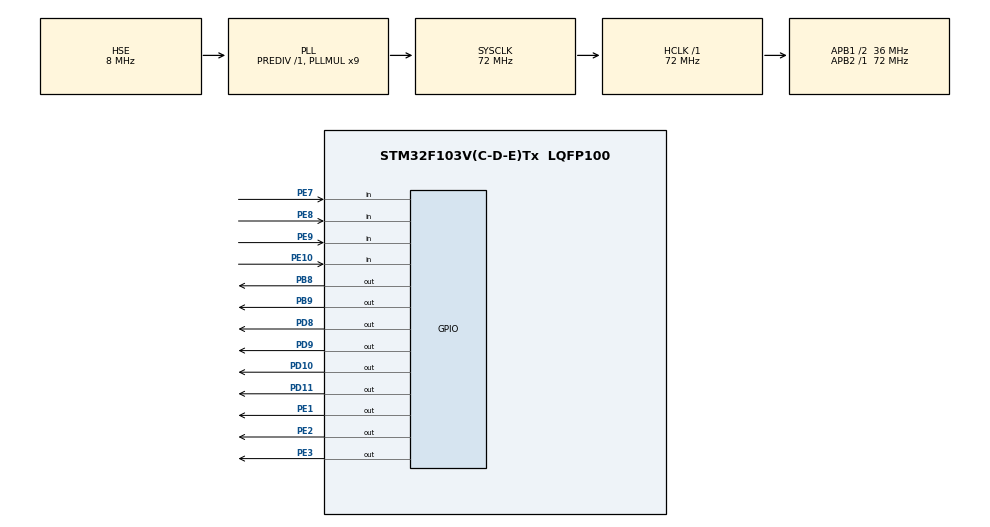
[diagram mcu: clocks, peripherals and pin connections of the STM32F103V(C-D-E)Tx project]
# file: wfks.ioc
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Mcu.Family=STM32F1
Mcu.Name=STM32F103V(C-D-E)Tx
Mcu.Package=LQFP100
NVIC.PriorityGroup=NVIC_PRIORITYGROUP_4
NVIC.TIM6_IRQn=true\:2\:0\:true\:false\:true\:true\:true\:true
OSC_IN.Mode=HSE-External-Oscillator
OSC_IN.Signal=RCC_OSC_IN
OSC_OUT.Mode=HSE-External-Oscillator
OSC_OUT.Signal=RCC_OSC_OUT
PA13.Mode=Serial_Wire
PA13.Signal=SYS_JTMS-SWDIO
PA14.Mode=Serial_Wire
PA14.Signal=SYS_JTCK-SWCLK
PB8.Signal=GPIO_Output
PB9.Signal=GPIO_Output
PC14-OSC32_IN.Mode=LSE-External-Oscillator
PC14-OSC32_IN.Signal=RCC_OSC32_IN
PC15-OSC32_OUT.Mode=LSE-External-Oscillator
PC15-OSC32_OUT.Signal=RCC_OSC32_OUT
PD10.Signal=GPIO_Output
PD11.Signal=GPIO_Output
PD8.Signal=GPIO_Output
PD9.Signal=GPIO_Output
PE1.Signal=GPIO_Output
PE10.Signal=GPIO_Input
PE2.Signal=GPIO_Output
PE3.Signal=GPIO_Output
PE7.Signal=GPIO_Input
PE8.Signal=GPIO_Input
PE9.Signal=GPIO_Input
ProjectManager.HeapSize=0x200
ProjectManager.StackSize=0x400
ProjectManager.TargetToolchain=MDK-ARM V5
RCC.AHBFreq_Value=72000000
RCC.APB1CLKDivider=RCC_HCLK_DIV2
RCC.APB1Freq_Value=36000000
RCC.APB1TimFreq_Value=72000000
RCC.APB2Freq_Value=72000000
RCC.APB2TimFreq_Value=72000000
RCC.HCLKFreq_Value=72000000
RCC.PLLMUL=RCC_PLL_MUL9
RCC.PLLSourceVirtual=RCC_PLLSOURCE_HSE
RCC.SYSCLKFreq_VALUE=72000000
RCC.SYSCLKSource=RCC_SYSCLKSOURCE_PLLCLK
RCC.TimSys_Div=SYSTICK_CLKSOURCE_HCLK_DIV8
RCC.USBFreq_Value=72000000
TIM6.Period=10000-1
TIM6.Prescaler=72000000/10000-1
VP_TIM6_VS_ClockSourceINT.Mode=Enable_Timer
board=custom

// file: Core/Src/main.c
/* USER CODE BEGIN Header */
/**
  ******************************************************************************
  * @file           : main.c
  * @brief          : Main program body
  ******************************************************************************
  * @attention
  *
  * Copyright (c) 2025 STMicroelectronics.
  * All rights reserved.
  *
  * This software is licensed under terms that can be found in the LICENSE file
  * in the root directory of this software component.
  * If no LICENSE file comes with this software, it is provided AS-IS.
  *
  ******************************************************************************
  */
/* USER CODE END Header */
#include "main.h"
#include "tim.h"
#include "gpio.h"
#include "oled_drv.h"
#include "stdio.h"
#include <stdlib.h>

/* USER CODE BEGIN Includes */

unsigned char BMP1[] =
{
//地鼠

	0x00,0x00,0xFE,0x7F,0x0F,0x77,0x17,0x76,0x02,0x83,0xC3,0xC3,0x82,0x02,0x76,0x17,
	0x77,0x0F,0x7F,0xFE,0x00,0x00,0xF8,0x7F,0x07,0x00,0x00,0x70,0xF0,0xD8,0x18,0x18,
	0x09,0x09,0x08,0x18,0xD8,0xF0,0x70,0x00,0x00,0x07,0x7F,0xF8,0x3F,0x3C,0x00,0x1F,
	0x3F,0x06,0x06,0x07,0x01,0x00,0x00,0x00,0x00,0x01,0x07,0x06,0x06,0x3F,0x1F,0x00,
	0x3C,0x3F,/*"C:\Users\Administrator\Desktop\1.BMP",0*/

};

unsigned char	BMP2[] =
{
//地洞
	0x18,0x17,0x10,0x10,0x10,0x10,0x10,0x10,0x10,0x10,0x10,0x10,0x10,0x10,0x10,0x10,
	0x10,0x10,0x10,0x10,0x10,0x10,0x10,0x10,0x10,0x10,0x10,0x10,0x17,0x18,/*"C:\Users\Administrator\Desktop\2.BMP",0*/
};

unsigned char BMP3[] =
{
//锤子
	0x60,0xF8,0xFC,0xFC,0xFC,0x7C,0x3E,0x1F,0x0F,0x07,0x07,0x0F,0xDE,0xFE,0xFC,0x30,
	0x00,0x00,0x00,0x00,0x00,0x00,0x00,0x00,0x00,0x3E,0x7F,0xFF,0xE3,0xC1,0x80,0xC0,
	0xE0,0xF0,0xF8,0x7E,0xFF,0xFF,0xFF,0xFD,0xF8,0xF0,0xF0,0xE0,0xC0,0x80,0x00,0x00,
	0x00,0x00,0x00,0x00,0x00,0x00,0x01,0x01,0x01,0x01,0x01,0x00,0x00,0x00,0x01,0x01,
	0x03,0x07,0x0F,0x1F,0x1F,0x3F,0x3F,0x3F,0x3F,0x3E,0x3C,/*"C:\Users\Administrator\Desktop\3.bmp",0*/

};
/* USER CODE END Includes */

void SystemClock_Config(void);
#define TIME  1500
char win_temp=0;
char mode=1;
char huan_pic=0;
	uint8_t rnd = 0;
	char temp=0;
		unsigned char chui = 0;
		char jiao = 0;
		uint16_t shijain = 0;
		int num =0;
		 unsigned char  accont=0;
// 全局变量
volatile uint32_t countdown_target = 0;

/* USER CODE BEGIN 0 */
void win()
{
	OLED_Clear();		//清屏
					//恭喜你打到地鼠了！
	OLED_ShowCHinese(40,2, 22);
	OLED_ShowCHinese(56,2, 23);
	OLED_ShowCHinese(72,2, 24);
	OLED_ShowCHinese(16,4, 25);
	OLED_ShowCHinese(32,4, 26);
	OLED_ShowCHinese(48,4, 27);
	OLED_ShowCHinese(64,4, 28);
	OLED_ShowCHinese(80,4, 29);
	OLED_ShowCHinese(98,4, 30);
	HAL_Delay(500);
}

void gg()
{
	OLED_Clear();
	//很遗憾游戏失败
	OLED_ShowCHinese(40,2, 17);
	OLED_ShowCHinese(56,2, 18);
	OLED_ShowCHinese(72,2, 19);
	OLED_ShowCHinese(32,4, 13);
	OLED_ShowCHinese(48,4, 14);
	OLED_ShowCHinese(64,4, 20);
	OLED_ShowCHinese(80,4, 21);
	HAL_Delay(500);
}
/* USER CODE END 0 */

int main(void)
{

  /* USER CODE BEGIN 1 */

//  uint8_t zzb=0;

//	Delay_ms(1000);

  /* USER CODE END 1 */

  /* MCU Configuration--------------------------------------------------------*/

  /* Reset of all peripherals, Initializes the Flash interface and the Systick. */
  HAL_Init();

  /* Configure the system clock */
  SystemClock_Config();

  /* Initialize all configured peripherals */
  MX_GPIO_Init();
  MX_TIM6_Init();
//	HAL_Delay(200);

  /* USER CODE BEGIN 2 */

	OLED_Hinit();       //OLED端口设置
	OLED_SInit();		//OLED内部初始化

	GG:

	OLED_Clear();		//清屏

		//36为空
	OLED_ShowCHinese(32,0, 11);
	OLED_ShowCHinese(48,0, 12);
	OLED_ShowCHinese(64,0, 13);
	OLED_ShowCHinese(80,0, 14);
		//普通模式
	OLED_ShowCHinese(32,3, 41);
	OLED_ShowCHinese(48,3, 42);
	OLED_ShowCHinese(64,3, 43);
	OLED_ShowCHinese(80,3, 44);
	//无尽模式
	OLED_ShowCHinese(32,6, 37);
	OLED_ShowCHinese(48,6, 38);
	OLED_ShowCHinese(64,6, 39);
	OLED_ShowCHinese(80,6, 40);
	while(1)
	{
		OLED_ShowCHinese(16,accont+3, 45);

		if(jiao==1)
		{
			if(accont==0)
			{
				OLED_ShowCHinese(16,3, 36);
			}
			else if(accont==3)
			{
				OLED_ShowCHinese(16,6, 36);
			}
			mode=1;
			accont-=3;
			if(accont>3)
			{
				accont=3;
			}
			if(accont==-3)
			{
				accont=3;
			}
			if(accont<0)
			{
				accont=3;
			}
			jiao=0;
		}
		else if(jiao==2)
		{
						if(accont==0)
			{
				OLED_ShowCHinese(16,3, 36);
			}
			else if(accont==3)
			{
				OLED_ShowCHinese(16,6, 36);
			}
			accont+=3;
			mode=2;

			if(accont>3)
			{
				accont=0;
			}
			//accont%=3;
			jiao=0;
		}
		else if(jiao==4)
		{

			jiao=0;
				break;
		}

	}
	HAL_Delay(100);
	jiao=0;
	OLED_Clear();
	jiao=0;
	//准备好了吗按下任意键开始游戏
	OLED_ShowCHinese(0,0, 0);
	OLED_ShowCHinese(16,0, 1);
	OLED_ShowCHinese(32,0, 2);
	OLED_ShowCHinese(48,0, 3);
	OLED_ShowCHinese(64,0, 4);
	OLED_ShowCHinese(80,0, 5);
	OLED_ShowCHinese(96,0, 6);
	OLED_ShowCHinese(16,3, 7);
	OLED_ShowCHinese(32,3 ,8);
	OLED_ShowCHinese(48,3, 9);
	OLED_ShowCHinese(64,3, 10);
	OLED_ShowCHinese(80,3, 11);
	OLED_ShowCHinese(32,6, 12);
	OLED_ShowCHinese(48,6, 13);
	HAL_Delay(100);
	jiao=0;
	OLED_ShowCHinese(64,6, 14);
	jiao=0;
	while(jiao==0);
	jiao=0;
	temp=0;
	huan_pic=0;
	rnd=0;
  HAL_Delay(1000);
  /* USER CODE END 2 */

  /* Infinite loop */
  /* USER CODE BEGIN WHILE */
	HAL_Delay(100);
	jiao=0;
	HAL_TIM_Base_Start_IT(&htim6);
  while (1)
  {
		if(mode==1)
		{

			rnd = get_random_0_to_4();
			dishu();
			if(temp==1)
			{
				goto xixi;
				temp=0;
			}
			while(temp==0)
			{
				OLED_ShowNum(64,0,num/1000,2,20);
				if(huan_pic==1)
				{
					rnd = get_random_0_to_4();
					dishu();
					huan_pic=0;
				}
				if(jiao==rnd)
				{
					num=0;
					temp=0;
					win();
					huan_pic=1;
					win_temp=1;
					jiao=0;
				}
				else if(jiao !=rnd &&jiao !=0)
				{
					xixi:
					temp=0;
					gg();
					win_temp=2;
					jiao=0;
					num=0;
					HAL_TIM_Base_Stop_IT(&htim6);
					goto GG ;
				}
			}
		}
		if(mode==2)
		{
			HAL_TIM_Base_Stop_IT(&htim6);
			rnd = get_random_0_to_4();
			dishu();

			while(temp==0)
			{
				OLED_ShowCHinese(64,0,46);
				if(huan_pic==1)
				{
					rnd = get_random_0_to_4();
					dishu();
					huan_pic=0;
				}
				if(jiao==rnd)
				{

					temp=0;
					win();
					huan_pic=1;
					win_temp=1;
					jiao=0;
				}
				else if(jiao !=rnd &&jiao !=0)
				{
					temp=0;
					gg();
					win_temp=2;
					jiao=0;

					HAL_TIM_Base_Stop_IT(&htim6);
					goto GG ;
				}
			}
		}
  }
}

void SystemClock_Config(void)
{
  RCC_OscInitTypeDef RCC_OscInitStruct = {0};
  RCC_ClkInitTypeDef RCC_ClkInitStruct = {0};

  /** Initializes the RCC Oscillators according to the specified parameters
  * in the RCC_OscInitTypeDef structure.
  */
  RCC_OscInitStruct.OscillatorType = RCC_OSCILLATORTYPE_HSE;
  RCC_OscInitStruct.HSEState = RCC_HSE_ON;
  RCC_OscInitStruct.HSEPredivValue = RCC_HSE_PREDIV_DIV1;
  RCC_OscInitStruct.HSIState = RCC_HSI_ON;
  RCC_OscInitStruct.PLL.PLLState = RCC_PLL_ON;
  RCC_OscInitStruct.PLL.PLLSource = RCC_PLLSOURCE_HSE;
  RCC_OscInitStruct.PLL.PLLMUL = RCC_PLL_MUL9;
  if (HAL_RCC_OscConfig(&RCC_OscInitStruct) != HAL_OK)
  {
    Error_Handler();
  }

  /** Initializes the CPU, AHB and APB buses clocks
  */
  RCC_ClkInitStruct.ClockType = RCC_CLOCKTYPE_HCLK|RCC_CLOCKTYPE_SYSCLK
                              |RCC_CLOCKTYPE_PCLK1|RCC_CLOCKTYPE_PCLK2;
  RCC_ClkInitStruct.SYSCLKSource = RCC_SYSCLKSOURCE_PLLCLK;
  RCC_ClkInitStruct.AHBCLKDivider = RCC_SYSCLK_DIV1;
  RCC_ClkInitStruct.APB1CLKDivider = RCC_HCLK_DIV2;
  RCC_ClkInitStruct.APB2CLKDivider = RCC_HCLK_DIV1;

  if (HAL_RCC_ClockConfig(&RCC_ClkInitStruct, FLASH_LATENCY_2) != HAL_OK)
  {
    Error_Handler();
  }
}

/* USER CODE BEGIN 4 */
uint8_t get_random_0_to_4(void) {

    // 用定时器或 ADC 噪声作为种子（避免每次开机相同）
    uint32_t seed = HAL_GetTick();  // 用系统滴答计时器
    srand(seed);
    // 生成 0~3 的随机数
    return ((rand() % 4)+1);

}
void StartCountdown()
{
  countdown_target = HAL_GetTick() + 50; // 计算结束时间点
}
void HAL_GPIO_EXTI_Callback(uint16_t GPIO_Pin)
{
	if(GPIO_Pin == GPIO_PIN_7)
	{
		int time=TIME;
		while(time--);
		time=TIME;
		if(GPIO_Pin == GPIO_PIN_7)
		{
			jiao=1;
			HAL_GPIO_TogglePin(GPIOD,GPIO_PIN_8);
		}
	}
	else if(GPIO_Pin == GPIO_PIN_8)
	{
		int time=TIME;
		while(time--);
		time=TIME;
		if(GPIO_Pin == GPIO_PIN_8)
		{
				jiao=2;
				HAL_GPIO_TogglePin(GPIOD,GPIO_PIN_8);
		}
			HAL_GPIO_TogglePin(GPIOD,GPIO_PIN_9);
	}
	else if(GPIO_Pin == GPIO_PIN_9)
	{
		int time=TIME;
		while(time--);
		time=TIME;
		if(GPIO_Pin == GPIO_PIN_9)
		{
			jiao=3;
			HAL_GPIO_TogglePin(GPIOD,GPIO_PIN_8);
		}
			HAL_GPIO_TogglePin(GPIOD,GPIO_PIN_10);
	}
	else if(GPIO_Pin == GPIO_PIN_10)
	{
		int time=TIME;
		while(time--);
		time=TIME;
		if(GPIO_Pin == GPIO_PIN_10)
		{
			jiao=4;
			HAL_GPIO_TogglePin(GPIOD,GPIO_PIN_8);
		}
		HAL_GPIO_TogglePin(GPIOD,GPIO_PIN_11);
	}
}
void HAL_TIM_PeriodElapsedCallback(TIM_HandleTypeDef* htim )
{
//	uint8_t kai = 0;
  if(htim->Instance==TIM6)
  {
			num++;
		if(num>=5000)
		{
			temp=1;
		}
	}
	}
void dishu(void)
{
	if(rnd==1)
	{
		OLED_Clear();		//清屏
		OLED_ShowCHinese(0,0, 47);
		OLED_ShowCHinese(0+16,0, 48);
		OLED_ShowCHinese(0+16+16,0, 49);
		OLED_ShowCHinese(0+16+16+16+16,0,35);
		OLED_DrawBMP(4,(64-24)/8,4+22,(64)/8,BMP1);

		OLED_DrawBMP(1,(64-5)/8,1+30,64/8,BMP2);
		OLED_DrawBMP(33,(64-5)/8,33+30,64/8,BMP2);
		OLED_DrawBMP(65,(64-5)/8,65+30,64/8,BMP2);
		OLED_DrawBMP(97,(64-5)/8,97+30,64/8,BMP2);
				// chui = chui + 1;
	}
	if(rnd==2)
	{
		OLED_Clear();		//清屏
		OLED_ShowCHinese(0,0, 47);
		OLED_ShowCHinese(0+16,0, 48);
		OLED_ShowCHinese(0+16+16,0, 49);

		OLED_ShowCHinese(0+16+16+16+16,0, 35);
		OLED_DrawBMP(36,(64-24)/8,36+22,(64)/8,BMP1);

		OLED_DrawBMP(1,(64-5)/8,1+30,64/8,BMP2);
		OLED_DrawBMP(33,(64-5)/8,33+30,64/8,BMP2);
		OLED_DrawBMP(65,(64-5)/8,65+30,64/8,BMP2);
		OLED_DrawBMP(97,(64-5)/8,97+30,64/8,BMP2);
				 //chui = chui + 1;

	}
		if(rnd == 3)
		{
			OLED_Clear();		//清屏
			OLED_ShowCHinese(0,0, 31);
			OLED_ShowCHinese(0,0, 47);
			OLED_ShowCHinese(0+16,0, 48);
			OLED_ShowCHinese(0+16+16,0, 49);
			OLED_ShowCHinese(0+16+16+16+16,0, 35);
			OLED_DrawBMP(68,(64-24)/8,68+22,(64)/8,BMP1);
			OLED_DrawBMP(1,(64-5)/8,1+30,64/8,BMP2);
			OLED_DrawBMP(33,(64-5)/8,33+30,64/8,BMP2);
			OLED_DrawBMP(65,(64-5)/8,65+30,64/8,BMP2);
			OLED_DrawBMP(97,(64-5)/8,97+30,64/8,BMP2);
			chui = chui + 1;

		}
		if(rnd == 4)
		{
			OLED_Clear();		//清屏
			OLED_ShowCHinese(0,0, 31);
			OLED_ShowCHinese(0,0, 47);
			OLED_ShowCHinese(0+16,0, 48);
			OLED_ShowCHinese(0+16+16,0, 49);
			OLED_ShowCHinese(0+16+16+16+16,0, 35);
			OLED_DrawBMP(100,(64-24)/8,100+22,(64)/8,BMP1);

			OLED_DrawBMP(1,(64-5)/8,1+30,64/8,BMP2);
			OLED_DrawBMP(33,(64-5)/8,33+30,64/8,BMP2);
			OLED_DrawBMP(65,(64-5)/8,65+30,64/8,BMP2);
			OLED_DrawBMP(97,(64-5)/8,97+30,64/8,BMP2);
					 //chui = chui + 1;

		}
}
/* USER CODE END 4 */

void Error_Handler(void)
{
  __disable_irq();
  while (1)
  {
  }
}
